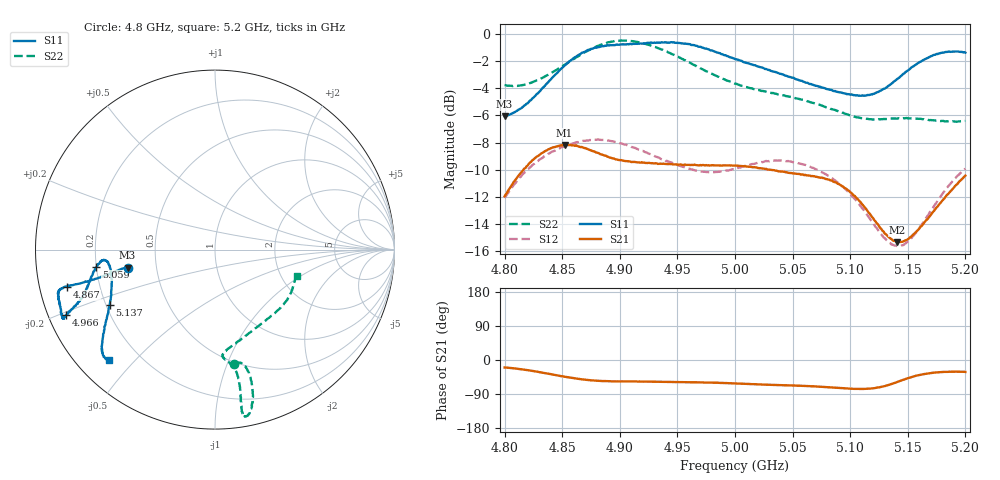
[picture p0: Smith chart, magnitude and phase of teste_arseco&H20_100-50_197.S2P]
! Network Analyzer HP8722D
! Hewlett-Packard
! Data name: Linha & Wilkinson
! Saver's name: Rodrigo Anjos
! Comments: Teste da utilização de aquisição
! continua pelo VNA HP8722D
! Time and date: 6/5/2025 14:12
!  Frequency  S11  S21  S12  S22
# HZ  S  MA R 50
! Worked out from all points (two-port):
!   401 points, 4.8 GHz to 5.2 GHz, reference 50 ohm
!   highest |S21| = -8.17 dB at 4.852 GHz (marker M1); lowest = -15.3 dB at 5.141 GHz (marker M2)
!   |S21| within 3 dB of the highest: 4.806 GHz to 5.092 GHz (286.4 MHz wide, 5.79 % of centre); 5.19136 GHz to end of sweep
!   lowest |S11| = -6.1 dB at 4.8 GHz (marker M3), VSWR 2.98, Z = 16.9 - j4.55 ohm
!   |S11| at or under -10 dB: nowhere
!   |S22| runs from -6.5 to -0.5 dB; largest |S21 - S12| = 0.62
!   S11 on the Smith chart (normalised r, x): 4.8 GHz: 0.34, -0.09; 4.867 GHz: 0.08, -0.12; 4.966 GHz: 0.05, -0.21; 5.059 GHz: 0.20, -0.07; 5.137 GHz: 0.22, -0.23; 5.2 GHz: 0.09, -0.42
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4.8e9  0.4974 -168.3  0.2527 -19.9  0.2491 -141.0  0.6479 -80.3
4.826e9  0.5885 -167.4  0.348 -29.9  0.3332 -144.7  0.669 -75.7
4.852e9  0.7646 -166.0  0.3906 -44.0  0.3863 -149.6  0.7703 -74.7
4.867e9  0.8512 -165.9  0.3837 -51.0  0.4029 -152.1  0.8429 -75.5
4.883e9  0.8963 -165.3  0.3611 -55.2  0.4079 -154.9  0.9106 -77.2
4.9e9  0.9132 -162.7  0.3431 -56.4  0.3959 -156.7  0.9432 -79.2
4.915e9  0.9186 -159.6  0.3369 -56.9  0.3775 -157.3  0.9341 -80.4
4.934e9  0.9292 -156.6  0.3325 -57.5  0.3507 -155.7  0.8823 -80.5
4.966e9  0.9042 -156.4  0.3292 -58.9  0.3144 -148.4  0.7625 -79.7
5e9  0.8079 -159.1  0.3279 -61.9  0.3197 -137.3  0.6561 -81.3
5.036e9  0.7214 -165.7  0.3139 -66.0  0.3423 -134.5  0.6015 -85.7
5.059e9  0.6682 -171.7  0.3036 -68.3  0.3313 -136.1  0.5722 -84.4
5.067e9  0.651 -173.1  0.3001 -69.3  0.3223 -136.9  0.5578 -82.7
5.085e9  0.6173 -174.5  0.2868 -72.8  0.293 -138.5  0.5274 -75.8
5.101e9  0.5988 -172.2  0.2601 -75.8  0.2549 -138.9  0.5004 -66.6
5.115e9  0.5959 -166.1  0.2232 -75.9  0.2149 -135.8  0.487 -56.4
5.134e9  0.6467 -154.1  0.1781 -65.2  0.1703 -120.6  0.4873 -43.3
5.137e9  0.6616 -152.4  0.174 -62.3  0.1678 -116.8  0.4886 -41.4
5.141e9  0.6834 -150.2  0.1712 -57.7  0.1656 -111.5  0.4886 -39.1
5.153e9  0.7513 -145.1  0.1796 -45.3  0.1772 -96.0  0.4887 -32.8
5.172e9  0.8341 -139.1  0.2215 -33.6  0.2298 -81.2  0.4811 -24.5
5.2e9  0.8523 -133.7  0.301 -31.5  0.3194 -77.0  0.4784 -17.7
